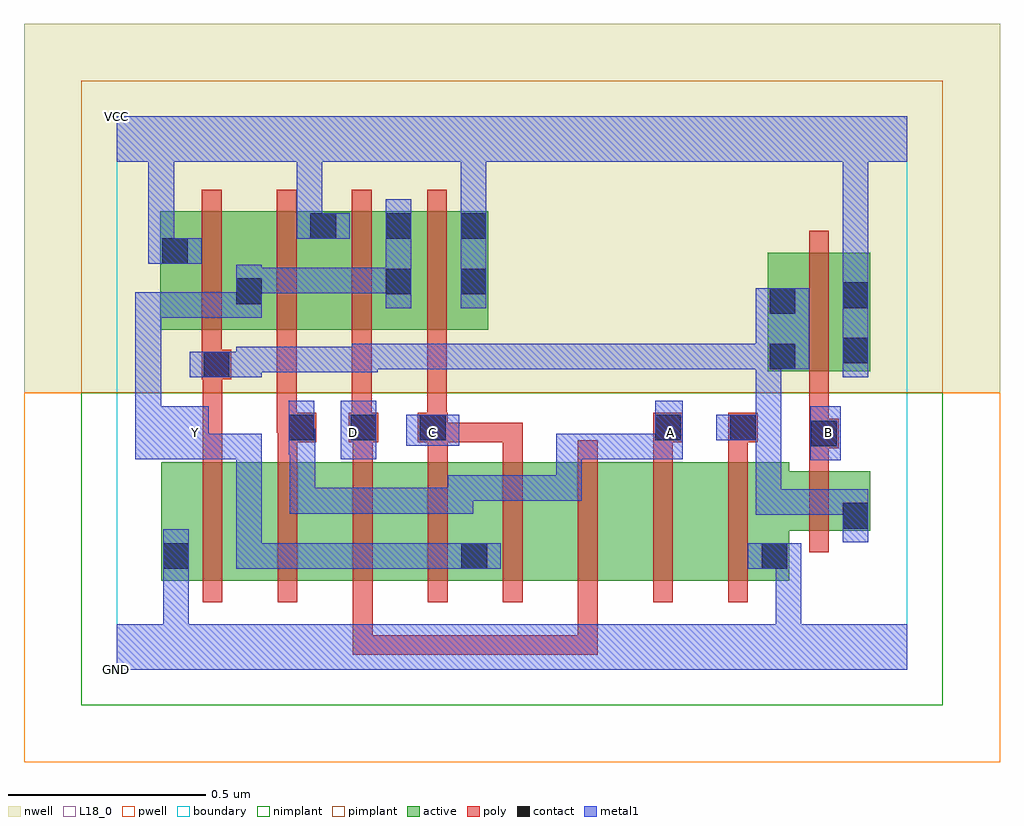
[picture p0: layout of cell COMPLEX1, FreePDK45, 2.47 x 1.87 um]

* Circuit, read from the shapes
.subckt COMPLEX1 A B C D GND VCC Y
M1 n1 n2 GND VSUBS nfet w=0.3u l=0.05u
M2 n3 A n1 VSUBS nfet w=0.3u l=0.05u
M3 n4 D n3 VSUBS nfet w=0.3u l=0.05u
M4 Y C n4 VSUBS nfet w=0.3u l=0.05u
M5 n5 C Y VSUBS nfet w=0.3u l=0.05u
M6 n6 D n5 VSUBS nfet w=0.3u l=0.05u
M7 n7 A n6 VSUBS nfet w=0.3u l=0.05u
M8 GND n2 n7 VSUBS nfet w=0.3u l=0.05u
M9 n2 B GND VSUBS nfet w=0.15u l=0.05u
M10 Y n2 VCC n8 pfet w=0.3u l=0.05u
M11 VCC A Y n8 pfet w=0.3u l=0.05u
M12 Y D VCC n8 pfet w=0.3u l=0.05u
M13 VCC C Y n8 pfet w=0.3u l=0.05u
M14 VCC B n2 n8 pfet w=0.3u l=0.05u
.ends

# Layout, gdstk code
import gdstk
lib = gdstk.Library(unit=1e-6, precision=1e-09)
def R(c, l, rs):  # rectangles x0, y0, x1, y1
    for r in rs: c.add(gdstk.rectangle(r[:2], r[2:], *l))
def A(c, l, x, y, w, h, nx, ny, dx, dy):  # array of equal rectangles
    R(c, l, [(x+i*dx, y+j*dy, x+i*dx+w, y+j*dy+h) for i in range(nx) for j in range(ny)])
active = (1, 0)
pwell = (2, 0)
nwell = (3, 0)
nimplant = (4, 0)
pimplant = (5, 0)
poly = (9, 0)
contact = (10, 0)
metal1 = (11, 0)
L18_0 = (18, 0)
boundary = (235, 0)

complex1 = lib.new_cell('COMPLEX1')
R(complex1, active, [(0.112,0.225,0.337,0.525), (0.112,0.225,0.187,0.525), (0.337,0.225,0.527,0.525), (0.527,0.225,0.717,0.525), (0.717,0.225,0.942,0.525), (0.867,0.225,1.097,0.525), (0.867,0.225,0.942,0.517), (1.097,0.225,1.287,0.525), (1.287,0.225,1.477,0.525), (1.477,0.225,1.702,0.525), (1.627,0.25,1.702,0.375), (1.627,0.352,1.907,0.502), (1.832,0.352,1.907,0.502), (1.647,0.755,1.722,1.055), (1.647,0.755,1.907,1.055), (1.832,0.755,1.907,1.055), (0.11,0.86,0.185,1.16), (0.11,0.86,0.372,1.16), (0.297,0.86,0.56,1.16), (0.485,0.86,0.75,1.16), (0.675,0.86,0.94,1.16), (0.865,0.86,0.94,1.16), (0.297,0.92,0.372,1.055), (0.675,0.927,0.75,1.16), (0.485,0.987,0.56,1.16)])
R(complex1, pwell, [(-0.235,-0.235,2.235,0.7)])
R(complex1, nwell, [(-0.235,0.7,2.235,1.635)])
R(complex1, nimplant, [(-0.09,-0.09,2.09,0.7)])
R(complex1, pimplant, [(-0.09,0.7,2.09,1.49)])
A(complex1, poly, 0.217, 0.17, 0.05, 0.41, 8, 1, 0.19, 0)
A(complex1, poly, 0.407, 0.53, 0.05, 0.095, 4, 1, 0.19, 0)
A(complex1, poly, 0.405, 0.6, 0.05, 0.255, 3, 1, 0.19, 0)
A(complex1, poly, 0.215, 0.805, 0.05, 0.41, 4, 1, 0.19, 0)
R(complex1, poly, [(0.597,0.037,0.647,0.087), (0.597,0.037,0.647,0.087), (0.597,0.037,0.647,0.087), (0.597,0.037,0.647,0.22), (0.597,0.037,0.895,0.087), (0.845,0.037,0.895,0.087), (0.845,0.037,1.085,0.087), (1.035,0.037,1.085,0.087), (1.035,0.037,1.085,0.087), (1.035,0.037,1.085,0.087), (1.035,0.037,1.217,0.087), (1.167,0.037,1.217,0.087), (1.167,0.037,1.217,0.087), (1.167,0.037,1.217,0.087), (1.167,0.037,1.217,0.22), (1.752,0.297,1.802,0.557), (1.752,0.507,1.802,0.61), (0.217,0.53,0.267,0.785), (1.357,0.53,1.407,0.625), (1.547,0.53,1.597,0.625), (1.752,0.56,1.827,0.635), (0.407,0.575,0.505,0.65), (0.587,0.575,0.662,0.65), (0.597,0.575,0.647,0.625), (0.597,0.575,0.647,0.625), (0.762,0.575,0.837,0.65), (0.787,0.575,0.837,0.625), (0.787,0.575,0.837,0.625), (0.787,0.575,0.837,0.625), (0.787,0.575,0.837,0.625), (0.787,0.575,1.027,0.625), (0.977,0.575,1.027,0.625), (1.357,0.575,1.432,0.65), (1.547,0.575,1.622,0.65), (1.752,0.585,1.802,0.75), (1.752,0.585,1.802,0.635), (1.752,0.585,1.802,0.635), (0.405,0.6,0.457,0.65), (0.407,0.6,0.457,0.65), (1.752,0.7,1.802,1.11), (0.215,0.735,0.29,0.81), (0.217,0.735,0.267,0.785), (0.217,0.735,0.267,0.785), (0.215,0.76,0.265,0.855)])
A(complex1, contact, 0.49, 1.09, 0.065, 0.065, 3, 1, 0.19, 0)
R(complex1, contact, [(0.117,0.255,0.182,0.32), (0.872,0.255,0.937,0.32), (1.632,0.255,1.697,0.32), (1.837,0.357,1.902,0.422), (1.757,0.565,1.822,0.63), (0.435,0.58,0.5,0.645), (0.592,0.58,0.657,0.645), (0.767,0.58,0.832,0.645), (1.362,0.58,1.427,0.645), (1.552,0.58,1.617,0.645), (0.22,0.74,0.285,0.805), (1.652,0.76,1.717,0.825), (1.837,0.775,1.902,0.84), (1.652,0.9,1.717,0.965), (1.837,0.915,1.902,0.98), (0.302,0.925,0.367,0.99), (0.68,0.95,0.745,1.015), (0.87,0.95,0.935,1.015), (0.115,1.027,0.18,1.092)])
R(complex1, metal1, [(0,0,2,0.115), (0.117,0.05,0.182,0.115), (0.117,0.05,0.182,0.115), (0.117,0.05,0.182,0.285), (1.667,0.05,1.732,0.115), (1.667,0.05,1.732,0.115), (1.667,0.05,1.732,0.32), (0.117,0.22,0.182,0.355), (0.302,0.255,0.367,0.32), (0.302,0.255,0.495,0.32), (0.302,0.255,0.367,0.597), (0.43,0.255,0.495,0.32), (0.43,0.255,0.505,0.32), (0.44,0.255,0.505,0.32), (0.44,0.255,0.66,0.32), (0.595,0.255,0.66,0.32), (0.595,0.255,0.66,0.32), (0.595,0.255,0.66,0.32), (0.595,0.255,0.902,0.32), (0.837,0.255,0.902,0.32), (0.837,0.255,0.902,0.32), (0.837,0.255,0.972,0.32), (1.597,0.255,1.732,0.32), (1.837,0.322,1.902,0.457), (1.617,0.392,1.682,0.457), (1.617,0.392,1.902,0.457), (1.617,0.392,1.682,0.645), (1.837,0.392,1.902,0.457), (1.837,0.392,1.902,0.457), (0.437,0.395,0.66,0.46), (0.437,0.395,0.502,0.61), (0.595,0.395,0.66,0.46), (0.595,0.395,0.66,0.46), (0.595,0.395,0.66,0.46), (0.595,0.395,0.902,0.46), (0.837,0.395,0.902,0.46), (0.837,0.395,0.902,0.46), (0.837,0.395,0.902,0.492), (0.837,0.427,1.04,0.492), (0.975,0.427,1.04,0.492), (0.975,0.427,1.04,0.492), (0.975,0.427,1.04,0.492), (0.975,0.427,1.177,0.492), (1.112,0.427,1.177,0.492), (1.112,0.427,1.177,0.492), (1.112,0.427,1.177,0.597), (1.755,0.53,1.832,0.667), (0.047,0.532,0.232,0.667), (0.167,0.532,0.232,0.597), (0.167,0.532,0.232,0.597), (0.167,0.532,0.367,0.597), (0.302,0.532,0.367,0.597), (0.567,0.532,0.657,0.68), (1.112,0.532,1.427,0.597), (1.362,0.532,1.432,0.68), (0.435,0.545,0.5,0.68), (0.435,0.545,0.502,0.61), (0.732,0.567,0.867,0.645), (1.517,0.58,1.652,0.645), (1.587,0.58,1.682,0.645), (1.617,0.58,1.682,0.645), (1.617,0.58,1.682,0.645), (1.617,0.58,1.682,0.645), (1.617,0.58,1.682,0.825), (0.047,0.602,0.112,0.667), (0.047,0.602,0.112,0.667), (0.047,0.602,0.112,0.955), (0.185,0.74,0.32,0.805), (0.255,0.74,0.367,0.805), (0.302,0.74,0.367,0.817), (1.837,0.74,1.902,1.015), (0.302,0.752,0.495,0.817), (0.43,0.752,0.495,0.817), (0.43,0.752,0.502,0.817), (0.437,0.752,0.502,0.817), (0.437,0.752,0.502,0.817), (0.437,0.752,0.502,0.817), (0.437,0.752,0.66,0.817), (0.595,0.752,0.66,0.817), (0.595,0.752,0.66,0.817), (0.595,0.752,0.66,0.825), (0.595,0.76,0.797,0.825), (0.732,0.76,0.797,0.825), (0.732,0.76,0.797,0.825), (0.732,0.76,0.797,0.825), (0.732,0.76,1.04,0.825), (0.975,0.76,1.04,0.825), (0.975,0.76,1.04,0.825), (0.975,0.76,1.04,0.825), (0.975,0.76,1.177,0.825), (1.112,0.76,1.177,0.825), (1.112,0.76,1.315,0.825), (1.25,0.76,1.315,0.825), (1.25,0.76,1.315,0.825), (1.25,0.76,1.315,0.825), (1.25,0.76,1.525,0.825), (1.46,0.76,1.525,0.825), (1.46,0.76,1.525,0.825), (1.46,0.76,1.525,0.825), (1.46,0.76,1.682,0.825), (1.617,0.76,1.752,0.965), (0.047,0.89,0.112,0.955), (0.047,0.89,0.112,0.955), (0.047,0.89,0.112,0.955), (0.047,0.89,0.367,0.955), (0.302,0.89,0.367,1.025), (0.68,0.915,0.745,1.19), (0.87,0.915,0.935,1.19), (1.837,0.95,1.902,1.015), (1.837,0.95,1.902,1.015), (1.837,0.95,1.902,1.35), (0.302,0.952,0.367,1.025), (0.302,0.952,0.495,1.017), (0.43,0.952,0.495,1.017), (0.43,0.952,0.505,1.017), (0.44,0.952,0.505,1.017), (0.44,0.952,0.637,1.017), (0.572,0.952,0.637,1.017), (0.572,0.952,0.745,1.017), (0.302,0.96,0.367,1.025), (0.08,1.027,0.145,1.092), (0.08,1.027,0.145,1.092), (0.08,1.027,0.215,1.092), (0.08,1.027,0.145,1.35), (0.455,1.09,0.59,1.155), (0.455,1.09,0.52,1.35), (0.87,1.125,0.935,1.35), (0,1.285,2,1.4), (0.455,1.285,0.52,1.35), (0.455,1.285,0.52,1.35), (0.87,1.285,0.935,1.35), (0.87,1.285,0.935,1.35)])
R(complex1, L18_0, [(0,0,2,0.115), (0.117,0.05,0.182,0.115), (0.117,0.05,0.182,0.115), (0.117,0.05,0.182,0.285), (1.667,0.05,1.732,0.115), (1.667,0.05,1.732,0.115), (1.667,0.05,1.732,0.32), (0.117,0.22,0.182,0.355), (0.302,0.255,0.367,0.32), (0.302,0.255,0.367,0.597), (0.302,0.255,0.495,0.32), (0.43,0.255,0.495,0.32), (0.43,0.255,0.505,0.32), (0.44,0.255,0.505,0.32), (0.44,0.255,0.66,0.32), (0.595,0.255,0.66,0.32), (0.595,0.255,0.66,0.32), (0.595,0.255,0.66,0.32), (0.595,0.255,0.902,0.32), (0.837,0.255,0.902,0.32), (0.837,0.255,0.902,0.32), (0.837,0.255,0.972,0.32), (1.597,0.255,1.732,0.32), (0.437,0.395,0.502,0.61), (0.437,0.395,0.66,0.46), (0.595,0.395,0.66,0.46), (0.595,0.395,0.66,0.46), (0.595,0.395,0.66,0.46), (0.595,0.395,0.902,0.46), (0.837,0.395,0.902,0.46), (0.837,0.395,0.902,0.46), (0.837,0.395,0.902,0.492), (0.837,0.427,1.04,0.492), (0.975,0.427,1.04,0.492), (0.975,0.427,1.04,0.492), (0.975,0.427,1.04,0.492), (0.975,0.427,1.177,0.492), (1.112,0.427,1.177,0.492), (1.112,0.427,1.177,0.492), (1.112,0.427,1.177,0.597), (1.755,0.53,1.832,0.667), (0.047,0.532,0.232,0.667), (0.167,0.532,0.232,0.597), (0.167,0.532,0.232,0.597), (0.167,0.532,0.367,0.597), (0.302,0.532,0.367,0.597), (0.567,0.532,0.657,0.68), (1.112,0.532,1.427,0.597), (1.362,0.532,1.432,0.68), (0.435,0.545,0.5,0.68), (0.435,0.545,0.502,0.61), (0.167,0.567,0.232,0.632), (0.567,0.567,0.632,0.632), (0.732,0.567,0.867,0.645), (0.767,0.567,0.832,0.632), (1.367,0.567,1.432,0.632), (1.767,0.567,1.832,0.632), (0.047,0.602,0.112,0.667), (0.047,0.602,0.112,0.667), (0.047,0.602,0.112,0.955), (1.837,0.74,1.902,1.015), (0.047,0.89,0.112,0.955), (0.047,0.89,0.112,0.955), (0.047,0.89,0.112,0.955), (0.047,0.89,0.367,0.955), (0.302,0.89,0.367,1.025), (0.68,0.915,0.745,1.19), (0.87,0.915,0.935,1.19), (1.837,0.95,1.902,1.015), (1.837,0.95,1.902,1.015), (1.837,0.95,1.902,1.35), (0.302,0.952,0.367,1.025), (0.302,0.952,0.495,1.017), (0.43,0.952,0.495,1.017), (0.43,0.952,0.505,1.017), (0.44,0.952,0.505,1.017), (0.44,0.952,0.637,1.017), (0.572,0.952,0.637,1.017), (0.572,0.952,0.745,1.017), (0.302,0.96,0.367,1.025), (0.08,1.027,0.145,1.092), (0.08,1.027,0.145,1.092), (0.08,1.027,0.215,1.092), (0.08,1.027,0.145,1.35), (0.455,1.09,0.59,1.155), (0.455,1.09,0.52,1.35), (0.87,1.125,0.935,1.35), (0,1.285,2,1.4), (0.455,1.285,0.52,1.35), (0.455,1.285,0.52,1.35), (0.87,1.285,0.935,1.35), (0.87,1.285,0.935,1.35)])
R(complex1, boundary, [(0,0,2,1.4)])
complex1.add(gdstk.Label('A', (1.4,0.6), layer=11, texttype=0))
complex1.add(gdstk.Label('B', (1.8,0.6), layer=11, texttype=0))
complex1.add(gdstk.Label('C', (0.8,0.6), layer=11, texttype=0))
complex1.add(gdstk.Label('D', (0.6,0.6), layer=11, texttype=0))
complex1.add(gdstk.Label('Y', (0.2,0.6), layer=11, texttype=0))
complex1.add(gdstk.Label('VCC', (0,1.4), layer=11, texttype=0))
complex1.add(gdstk.Label('GND', (0,0), layer=11, texttype=0))

lib.write_gds('COMPLEX1.gds')
